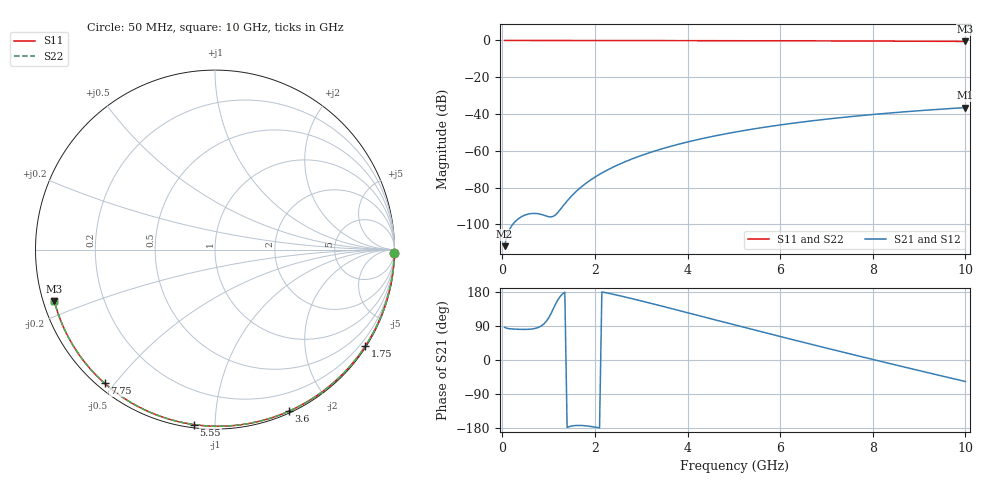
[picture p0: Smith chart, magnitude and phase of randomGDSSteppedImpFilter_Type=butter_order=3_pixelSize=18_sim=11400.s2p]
! freq	dB(S11)	phase(S11)	dB(S12)	phase(S12)
!  dB(S21)	phase(S21)	dB(S22)	phase(S22)
!S-par simulation data
#  GHz  S  DB  R 50
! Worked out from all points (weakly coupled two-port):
!   200 points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, 50 MHz to 10 GHz, reference 50 ohm
!   highest |S21| = -36.51 dB at 10 GHz (marker M1); lowest = -111.8 dB at 50 MHz (marker M2)
!   lowest |S11| = -0.5 dB at 10 GHz (marker M3), VSWR 32.40, Z = 1.58 - j7.85 ohm
!   |S11| at or under -10 dB: nowhere
!   |S22| runs from -0.5 to 0.0 dB; largest |S21 - S12| = 0
!   S11 on the Smith chart (normalised r, x): 50 MHz: open; 1.75 GHz: 0.03, -3.41; 3.6 GHz: 0.02, -1.56; 5.55 GHz: 0.02, -0.89; 7.75 GHz: 0.02, -0.47; 10 GHz: 0.03, -0.16
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0.05  -0.00 -1.0  -111.83 86.1  -111.83 86.1  -0.00 -1.0
0.45  -0.01 -8.6  -95.36 80.7  -95.36 80.7  -0.01 -8.6
0.85  -0.02 -16.1  -94.64 90.6  -94.64 90.6  -0.02 -16.1
1.65  -0.04 -30.9  -80.83 -172.6  -80.83 -172.6  -0.04 -30.9
1.7  -0.04 -31.8  -79.76 -172.8  -79.76 -172.8  -0.04 -31.8
1.75  -0.04 -32.7  -78.74 -173.1  -78.74 -173.1  -0.04 -32.7
1.9  -0.05 -35.5  -75.96 -175.1  -75.96 -175.1  -0.05 -35.5
2.05  -0.05 -38.2  -73.52 -178.0  -73.52 -178.0  -0.05 -38.2
2.25  -0.05 -41.8  -70.67 177.3  -70.67 177.3  -0.05 -41.8
2.45  -0.06 -45.3  -68.17 172.0  -68.17 172.0  -0.06 -45.4
2.9  -0.07 -53.3  -63.46 158.9  -63.46 158.9  -0.07 -53.3
3.4  -0.08 -61.9  -59.26 143.6  -59.26 143.6  -0.08 -61.9
3.6  -0.09 -65.3  -57.81 137.4  -57.81 137.4  -0.09 -65.3
4.3  -0.11 -77.0  -53.44 115.3  -53.44 115.3  -0.11 -77.0
5.05  -0.14 -89.0  -49.70 91.7  -49.70 91.7  -0.14 -89.0
5.55  -0.16 -96.8  -47.60 76.0  -47.60 76.0  -0.16 -96.8
6.1  -0.19 -105.2  -45.58 59.0  -45.58 59.0  -0.19 -105.2
6.7  -0.22 -114.2  -43.65 40.5  -43.65 40.5  -0.22 -114.2
7.75  -0.30 -129.5  -40.83 8.9  -40.83 8.9  -0.30 -129.6
8.35  -0.35 -138.2  -39.48 -8.9  -39.48 -8.9  -0.35 -138.2
9.2  -0.44 -150.4  -37.82 -33.7  -37.82 -33.7  -0.44 -150.5
10  -0.54 -162.1  -36.51 -56.8  -36.51 -56.8  -0.54 -162.2
